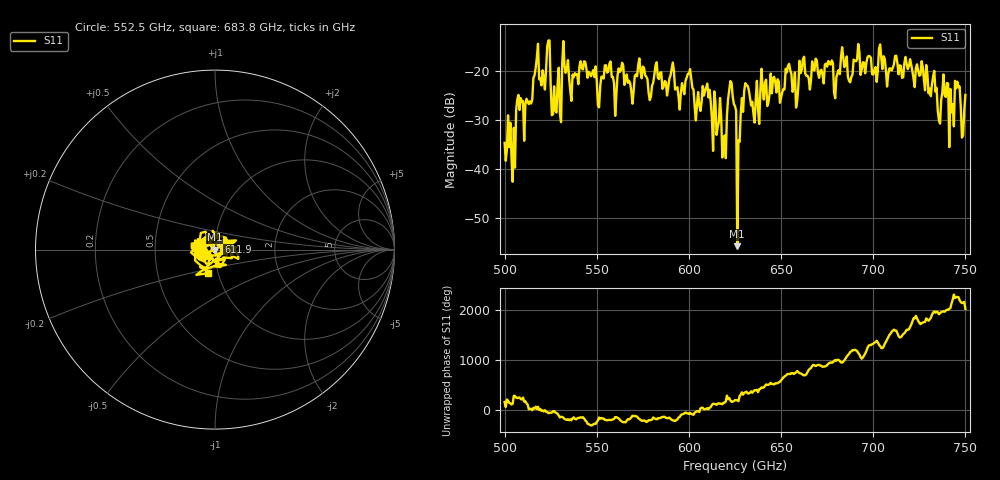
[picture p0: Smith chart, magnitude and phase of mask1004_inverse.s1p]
!Created with skrf (http://scikit-rf.org).
# GHz S MA R 50.0
!freq magS11 angS11
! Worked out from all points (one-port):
!   401 points, 500 GHz to 750 GHz, reference 50 ohm
!   lowest |S11| = -55.8 dB at 626.2 GHz (marker M1), VSWR 1.00, Z = 49.8 - j0.0486 ohm
!   |S11| at or under -10 dB: start of sweep to end of sweep
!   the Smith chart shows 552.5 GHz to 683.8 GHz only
!   S11 on the Smith chart (normalised r, x): 552.5 GHz: 0.85, -0.06; 611.9 GHz: 1.04, +0.09; 683.8 GHz: 0.90, -0.24
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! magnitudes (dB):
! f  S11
! 500 GHz  -34.7
! 505 GHz  -31.6
! 507.5 GHz  -24.9
! 511.9 GHz  -25.7
! 516.9 GHz  -19.3
! 523.8 GHz  -13.8
! 526.9 GHz  -23.1
! 531.2 GHz  -18.5
! 552.5 GHz  -21.2
! 562.5 GHz  -20.2
! 593.8 GHz  -23.3
! 600 GHz  -20.6
! 611.9 GHz  -26.5
! 619.4 GHz  -33.2
! 623.1 GHz  -22.4
! 625 GHz  -27.2
! 626.2 GHz  -55.8
! 631.2 GHz  -22.9
! 635 GHz  -28.7
! 656.2 GHz  -24.3
! 683.8 GHz  -17.3
! 687.5 GHz  -22.3
! 718.8 GHz  -19.6
! 735.6 GHz  -30.0
! 739.4 GHz  -25.3
! 742.5 GHz  -28.5
! 745.6 GHz  -22.2
! 750 GHz  -24.9
